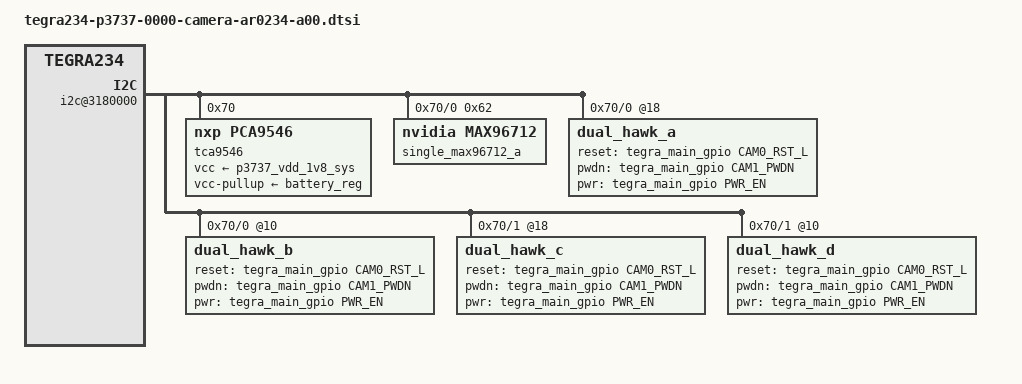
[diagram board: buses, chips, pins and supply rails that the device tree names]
/*
 * Copyright (c) 2018-2022, NVIDIA CORPORATION.  All rights reserved.
 *
 * This program is free software; you can redistribute it and/or modify
 * it under the terms of the GNU General Public License as published by
 * the Free Software Foundation; either version 2 of the License, or
 * (at your option) any later version.
 *
 * This program is distributed in the hope that it will be useful, but WITHOUT
 * ANY WARRANTY; without even the implied warranty of MERCHANTABILITY or
 * FITNESS FOR A PARTICULAR PURPOSE.  See the GNU General Public License for
 * more details.
 *
 * You should have received a copy of the GNU General Public License
 * along with this program.  If not, see <http://www.gnu.org/licenses/>.
 */
#include <t234-common-modules/tegra234-camera-ar0234-a00.dtsi>
#include "dt-bindings/clock/tegra234-clock.h"


#define CAM0_RST_L	TEGRA234_MAIN_GPIO(H, 3)
#define CAM0_PWDN	TEGRA234_MAIN_GPIO(H, 6)
#define CAM1_RST_L	TEGRA234_MAIN_GPIO(AC, 1)
#define CAM1_PWDN	TEGRA234_MAIN_GPIO(AC, 0)
#define PWR_EN      TEGRA234_MAIN_GPIO(AC, 7)

#define CAMERA_I2C_MUX_BUS(x) (0x1E + x)

/* camera control gpio definitions */

/ {
	i2c@3180000 {
		tca9546@70 {
			compatible = "nxp,pca9546";
			reg = <0x70>;
			#address-cells = <1>;
			#size-cells = <0>;
			skip_mux_detect = "yes";
			vcc-supply = <&p3737_vdd_1v8_sys>;
			vcc-pullup-supply = <&battery_reg>;
			force_bus_start = <CAMERA_I2C_MUX_BUS(0)>;

			i2c@0 {
				reg = <0>;
				i2c-mux,deselect-on-exit;
				#address-cells = <1>;
				#size-cells = <0>;

				single_max96712_a@62 {
					compatible = "nvidia,max96712";
					reg = <0x62>;
					channel = "a";
				};

				dual_hawk_a@18 {
					def-addr = <0x18>;
					/* Define any required hw resources needed by driver */
					/* ie. clocks, io pins, power sources */
					clocks = <&bpmp_clks TEGRA234_CLK_EXTPERIPH1>,
							<&bpmp_clks TEGRA234_CLK_EXTPERIPH1>;
					clock-names = "extperiph1", "pllp_grtba";
					mclk = "extperiph1";
					channel = "a";
					has-eeprom;
					reset-gpios = <&tegra_main_gpio CAM0_RST_L GPIO_ACTIVE_HIGH>;
					pwdn-gpios = <&tegra_main_gpio CAM1_PWDN GPIO_ACTIVE_HIGH>;
					pwr-gpios = <&tegra_main_gpio PWR_EN GPIO_ACTIVE_HIGH>;
				};
				dual_hawk_b@10 {
					def-addr = <0x10>;
					/* Define any required hw resources needed by driver */
					/* ie. clocks, io pins, power sources */
					clocks = <&bpmp_clks TEGRA234_CLK_EXTPERIPH1>,
						<&bpmp_clks TEGRA234_CLK_EXTPERIPH1>;
					clock-names = "extperiph1", "pllp_grtba";
					mclk = "extperiph1";
					channel = "n";
					has-eeprom;
					reset-gpios = <&tegra_main_gpio CAM0_RST_L GPIO_ACTIVE_HIGH>;
					pwdn-gpios = <&tegra_main_gpio CAM1_PWDN GPIO_ACTIVE_HIGH>;
					pwr-gpios = <&tegra_main_gpio PWR_EN GPIO_ACTIVE_HIGH>;
				};
			};
			i2c@1 {
				reg = <1>;
				i2c-mux,deselect-on-exit;
				#address-cells = <1>;
				#size-cells = <0>;
				dual_hawk_c@18 {
					def-addr = <0x18>;
					/* Define any required hw resources needed by driver */
					/* ie. clocks, io pins, power sources */
					clocks = <&bpmp_clks TEGRA234_CLK_EXTPERIPH1>,
							<&bpmp_clks TEGRA234_CLK_EXTPERIPH1>;
					clock-names = "extperiph1", "pllp_grtba";
					mclk = "extperiph1";
					channel = "n";
					has-eeprom;
					reset-gpios = <&tegra_main_gpio CAM0_RST_L GPIO_ACTIVE_HIGH>;
					pwdn-gpios = <&tegra_main_gpio CAM1_PWDN GPIO_ACTIVE_HIGH>;
					pwr-gpios = <&tegra_main_gpio PWR_EN GPIO_ACTIVE_HIGH>;
				};
				dual_hawk_d@10 {
					ef-addr = <0x10>;
					/* Define any required hw resources needed by driver */
					/* ie. clocks, io pins, power sources */
					clocks = <&bpmp_clks TEGRA234_CLK_EXTPERIPH1>,
						<&bpmp_clks TEGRA234_CLK_EXTPERIPH1>;
					clock-names = "extperiph1", "pllp_grtba";
					mclk = "extperiph1";
					channel = "n";
					has-eeprom;
					reset-gpios = <&tegra_main_gpio CAM0_RST_L GPIO_ACTIVE_HIGH>;
					pwdn-gpios = <&tegra_main_gpio CAM1_PWDN GPIO_ACTIVE_HIGH>;
					pwr-gpios = <&tegra_main_gpio PWR_EN GPIO_ACTIVE_HIGH>;
				};
			};
		};
	};
};
